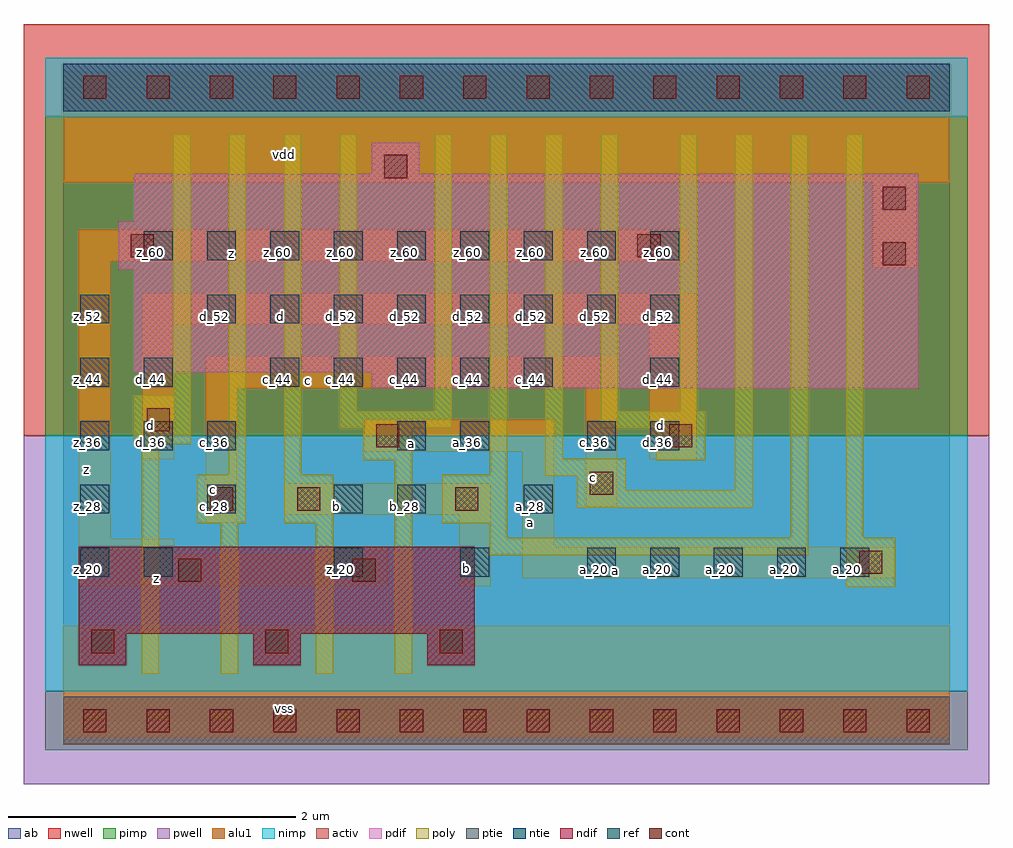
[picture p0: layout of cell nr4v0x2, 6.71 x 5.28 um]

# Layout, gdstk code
import gdstk
lib = gdstk.Library(unit=1e-6, precision=2.5e-09)
def R(c, l, rs):  # rectangles x0, y0, x1, y1
    for r in rs: c.add(gdstk.rectangle(r[:2], r[2:], *l))
def A(c, l, x, y, w, h, nx, ny, dx, dy):  # array of equal rectangles
    R(c, l, [(x+i*dx, y+j*dy, x+i*dx+w, y+j*dy+h) for i in range(nx) for j in range(ny)])
ndif = (3, 0)
pdif = (4, 0)
ntie = (5, 0)
ptie = (6, 0)
ref = (24, 0)
cont = (25, 0)
pwell = (41, 0)
nwell = (42, 0)
activ = (43, 0)
pimp = (44, 0)
nimp = (45, 0)
poly = (46, 0)
alu1 = (49, 0)
ab = (63, 0)

nr4v0x2 = lib.new_cell('nr4v0x2')
A(nr4v0x2, ndif, 0.11, 0.385, 0.33, 0.22, 3, 1, 1.21, 0)
R(nr4v0x2, ndif, [(0.11,0.605,2.86,1.21)])
R(nr4v0x2, pdif, [(2.145,2.31,5.94,2.42), (0.495,2.42,5.94,3.135), (0.385,3.135,5.94,3.465), (0.495,3.465,5.94,3.795), (2.145,3.795,2.475,4.015)])
R(nr4v0x2, ntie, [(0,4.235,6.16,4.565)])
R(nr4v0x2, ptie, [(0,-0.165,6.16,0.165)])
A(nr4v0x2, ref, 1.88, 1, 0.2, 0.2, 3, 1, 0.88, 0)
A(nr4v0x2, ref, 4.08, 1, 0.2, 0.2, 4, 1, 0.44, 0)
A(nr4v0x2, ref, 0.12, 1.44, 0.2, 0.2, 3, 1, 0.88, 0)
A(nr4v0x2, ref, 0.12, 1.88, 0.2, 0.2, 3, 1, 0.44, 0)
A(nr4v0x2, ref, 1.44, 2.32, 0.2, 0.2, 5, 1, 0.44, 0)
A(nr4v0x2, ref, 1, 2.76, 0.2, 0.2, 8, 1, 0.44, 0)
A(nr4v0x2, ref, 0.56, 3.2, 0.2, 0.2, 9, 1, 0.44, 0)
R(nr4v0x2, ref, [(0.12,1,0.32,1.2), (0.56,1,0.76,1.2), (2.32,1.44,2.52,1.64), (3.2,1.44,3.4,1.64), (2.32,1.88,2.52,2.08), (2.76,1.88,2.96,2.08), (3.64,1.88,3.84,2.08), (4.08,1.88,4.28,2.08), (0.12,2.32,0.32,2.52), (0.56,2.32,0.76,2.52), (4.08,2.32,4.28,2.52), (0.12,2.76,0.32,2.96)])
A(nr4v0x2, cont, 0.14, -0.08, 0.16, 0.16, 14, 2, 0.44, 4.4)
A(nr4v0x2, cont, 0.195, 0.47, 0.16, 0.16, 3, 1, 1.21, 0)
R(nr4v0x2, cont, [(0.8,0.965,0.96,1.125), (2.01,0.965,2.17,1.125), (5.53,1.02,5.69,1.18), (1.02,1.46,1.18,1.62), (1.625,1.46,1.785,1.62), (2.725,1.46,2.885,1.62), (3.66,1.57,3.82,1.73), (2.175,1.9,2.335,2.06), (4.21,1.9,4.37,2.06), (0.58,2.01,0.74,2.17), (5.695,3.165,5.855,3.325), (0.47,3.22,0.63,3.38), (3.99,3.22,4.15,3.38), (5.695,3.55,5.855,3.71), (2.23,3.77,2.39,3.93)])
R(nr4v0x2, pwell, [(-0.275,-0.44,6.435,1.98)])
R(nr4v0x2, nwell, [(-0.275,1.98,6.435,4.84)])
A(nr4v0x2, activ, 0.11, 0.385, 0.33, 0.22, 3, 1, 1.21, 0)
R(nr4v0x2, activ, [(0,-0.165,6.16,0.165), (0.11,0.605,2.86,1.21), (2.145,2.31,5.94,2.42), (0.495,2.42,5.94,3.135), (0.385,3.135,5.94,3.465), (0.495,3.465,5.94,3.795), (2.145,3.795,2.475,4.015), (0,4.235,6.16,4.565)])
R(nr4v0x2, pimp, [(-0.125,-0.205,6.285,0.205), (-0.125,1.98,6.285,4.195)])
R(nr4v0x2, nimp, [(-0.125,0.205,6.285,1.98), (-0.125,4.195,6.285,4.605)])
R(nr4v0x2, poly, [(0.545,0.325,0.665,1.92), (1.095,0.325,1.215,1.37), (1.755,0.325,1.875,1.37), (2.305,0.325,2.425,1.81), (5.44,0.93,5.78,1.27), (2.965,1.15,5.175,1.27), (2.965,1.27,3.085,1.37), (5.055,1.27,5.175,4.075), (5.44,1.27,5.56,4.075), (0.93,1.37,1.27,1.71), (1.535,1.37,1.875,1.71), (2.635,1.37,3.085,1.71), (3.57,1.48,4.79,1.6), (3.57,1.6,3.91,1.7), (4.67,1.6,4.79,4.075), (3.35,1.7,3.91,1.82), (1.15,1.71,1.27,4.075), (1.535,1.71,1.655,4.075), (2.965,1.71,3.085,4.075), (2.085,1.81,2.425,2.03), (4.12,1.81,4.46,2.03), (3.35,1.82,3.47,4.075), (0.49,1.92,0.885,2.26), (1.92,2.03,2.7,2.15), (3.735,2.03,4.46,2.15), (1.92,2.15,2.04,4.075), (2.58,2.15,2.7,4.075), (3.735,2.15,3.855,4.075), (4.285,2.15,4.405,4.075), (0.765,2.26,0.885,4.075)])
R(nr4v0x2, alu1, [(0,-0.11,6.16,0.66), (0.11,0.935,2.255,1.155), (2.75,0.935,2.97,1.43), (3.19,0.99,5.775,1.21), (0.11,1.155,0.77,1.265), (1.815,1.155,2.255,1.21), (3.19,1.21,3.41,1.87), (0.11,1.265,0.33,3.19), (0.99,1.375,1.21,2.31), (1.54,1.43,2.97,1.65), (3.63,1.485,3.85,2.31), (0.55,1.815,0.77,2.75), (4.07,1.815,4.4,2.75), (2.09,1.87,3.41,2.09), (0.99,2.31,3.85,2.53), (0.55,2.75,4.4,2.97), (5.625,3.15,5.925,3.74), (0.11,3.19,4.345,3.41), (0,3.74,6.16,4.51)])
R(nr4v0x2, ab, [(0,0,6.16,4.4)])
nr4v0x2.add(gdstk.Label('vss', (1.54,0.0825), layer=49, texttype=0))
nr4v0x2.add(gdstk.Label('a', (3.835,1.045), layer=49, texttype=0))
nr4v0x2.add(gdstk.Label('d', (4.1525,2.0475), layer=49, texttype=0))
nr4v0x2.add(gdstk.Label('c', (3.685,1.69), layer=49, texttype=0))
nr4v0x2.add(gdstk.Label('a', (3.245,1.375), layer=49, texttype=0))
nr4v0x2.add(gdstk.Label('b', (2.805,1.0575), layer=49, texttype=0))
nr4v0x2.add(gdstk.Label('z', (0.645,0.99), layer=49, texttype=0))
nr4v0x2.add(gdstk.Label('b', (1.8975,1.485), layer=49, texttype=0))
nr4v0x2.add(gdstk.Label('a', (2.42,1.925), layer=49, texttype=0))
nr4v0x2.add(gdstk.Label('c', (1.045,1.6075), layer=49, texttype=0))
nr4v0x2.add(gdstk.Label('c', (1.705,2.365), layer=49, texttype=0))
nr4v0x2.add(gdstk.Label('d', (0.605,2.0475), layer=49, texttype=0))
nr4v0x2.add(gdstk.Label('d', (1.5125,2.805), layer=49, texttype=0))
nr4v0x2.add(gdstk.Label('z', (0.165,1.745), layer=49, texttype=0))
nr4v0x2.add(gdstk.Label('z', (1.1675,3.245), layer=49, texttype=0))
nr4v0x2.add(gdstk.Label('vdd', (1.54,3.9325), layer=49, texttype=0))
nr4v0x2.add(gdstk.Label('a_20', (5.45,1.05), layer=24, texttype=0))
nr4v0x2.add(gdstk.Label('z_20', (0.61,1.05), layer=24, texttype=0))
nr4v0x2.add(gdstk.Label('d_36', (0.61,1.93), layer=24, texttype=0))
nr4v0x2.add(gdstk.Label('d_44', (0.61,2.37), layer=24, texttype=0))
nr4v0x2.add(gdstk.Label('z_60', (0.61,3.25), layer=24, texttype=0))
nr4v0x2.add(gdstk.Label('c_28', (1.05,1.49), layer=24, texttype=0))
nr4v0x2.add(gdstk.Label('c_36', (1.05,1.93), layer=24, texttype=0))
nr4v0x2.add(gdstk.Label('d_52', (1.05,2.81), layer=24, texttype=0))
nr4v0x2.add(gdstk.Label('z_60', (1.05,3.25), layer=24, texttype=0))
nr4v0x2.add(gdstk.Label('c_44', (1.49,2.37), layer=24, texttype=0))
nr4v0x2.add(gdstk.Label('d_52', (1.49,2.81), layer=24, texttype=0))
nr4v0x2.add(gdstk.Label('z_60', (1.49,3.25), layer=24, texttype=0))
nr4v0x2.add(gdstk.Label('z_20', (1.93,1.05), layer=24, texttype=0))
nr4v0x2.add(gdstk.Label('b_28', (1.93,1.49), layer=24, texttype=0))
nr4v0x2.add(gdstk.Label('c_44', (1.93,2.37), layer=24, texttype=0))
nr4v0x2.add(gdstk.Label('d_52', (1.93,2.81), layer=24, texttype=0))
nr4v0x2.add(gdstk.Label('z_60', (1.93,3.25), layer=24, texttype=0))
nr4v0x2.add(gdstk.Label('z_20', (0.17,1.05), layer=24, texttype=0))
nr4v0x2.add(gdstk.Label('z_28', (0.17,1.49), layer=24, texttype=0))
nr4v0x2.add(gdstk.Label('z_36', (0.17,1.93), layer=24, texttype=0))
nr4v0x2.add(gdstk.Label('z_44', (0.17,2.37), layer=24, texttype=0))
nr4v0x2.add(gdstk.Label('z_52', (0.17,2.81), layer=24, texttype=0))
nr4v0x2.add(gdstk.Label('b_28', (2.37,1.49), layer=24, texttype=0))
nr4v0x2.add(gdstk.Label('a_36', (2.37,1.93), layer=24, texttype=0))
nr4v0x2.add(gdstk.Label('c_44', (2.37,2.37), layer=24, texttype=0))
nr4v0x2.add(gdstk.Label('d_52', (2.37,2.81), layer=24, texttype=0))
nr4v0x2.add(gdstk.Label('z_60', (2.37,3.25), layer=24, texttype=0))
nr4v0x2.add(gdstk.Label('b_20', (2.81,1.05), layer=24, texttype=0))
nr4v0x2.add(gdstk.Label('a_36', (2.81,1.93), layer=24, texttype=0))
nr4v0x2.add(gdstk.Label('c_44', (2.81,2.37), layer=24, texttype=0))
nr4v0x2.add(gdstk.Label('d_52', (2.81,2.81), layer=24, texttype=0))
nr4v0x2.add(gdstk.Label('z_60', (2.81,3.25), layer=24, texttype=0))
nr4v0x2.add(gdstk.Label('a_28', (3.25,1.49), layer=24, texttype=0))
nr4v0x2.add(gdstk.Label('c_44', (3.25,2.37), layer=24, texttype=0))
nr4v0x2.add(gdstk.Label('d_52', (3.25,2.81), layer=24, texttype=0))
nr4v0x2.add(gdstk.Label('z_60', (3.25,3.25), layer=24, texttype=0))
nr4v0x2.add(gdstk.Label('a_20', (3.69,1.05), layer=24, texttype=0))
nr4v0x2.add(gdstk.Label('c_36', (3.69,1.93), layer=24, texttype=0))
nr4v0x2.add(gdstk.Label('d_52', (3.69,2.81), layer=24, texttype=0))
nr4v0x2.add(gdstk.Label('z_60', (3.69,3.25), layer=24, texttype=0))
nr4v0x2.add(gdstk.Label('a_20', (4.13,1.05), layer=24, texttype=0))
nr4v0x2.add(gdstk.Label('d_36', (4.13,1.93), layer=24, texttype=0))
nr4v0x2.add(gdstk.Label('d_44', (4.13,2.37), layer=24, texttype=0))
nr4v0x2.add(gdstk.Label('d_52', (4.13,2.81), layer=24, texttype=0))
nr4v0x2.add(gdstk.Label('z_60', (4.13,3.25), layer=24, texttype=0))
nr4v0x2.add(gdstk.Label('a_20', (4.57,1.05), layer=24, texttype=0))
nr4v0x2.add(gdstk.Label('a_20', (5.01,1.05), layer=24, texttype=0))

lib.write_gds('nr4v0x2.gds')
